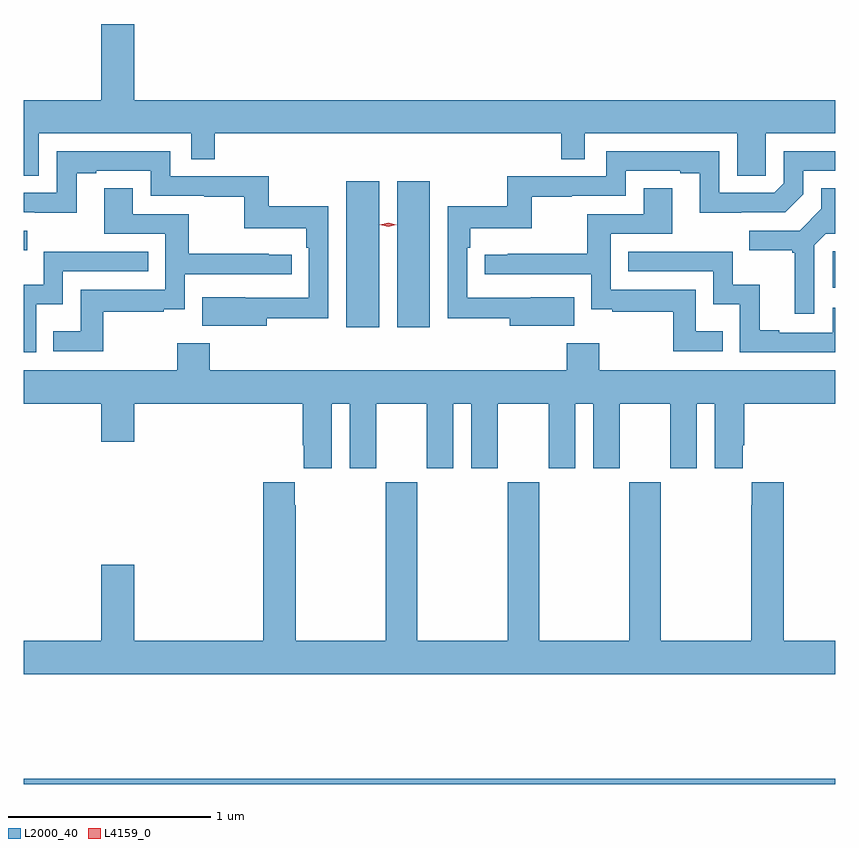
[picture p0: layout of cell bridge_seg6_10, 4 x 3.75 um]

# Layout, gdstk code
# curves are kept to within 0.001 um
import gdstk
lib = gdstk.Library(unit=1e-6, precision=1e-09)
def R(c, l, rs):  # rectangles x0, y0, x1, y1
    for r in rs: c.add(gdstk.rectangle(r[:2], r[2:], *l))
def P(c, l, *ps):  # polygons
    for p in ps: c.add(gdstk.Polygon(p, *l))
L2000_40 = (2000, 40)
L4159_0 = (4159, 0)

bridge_seg6_10 = lib.new_cell('bridge_seg6_10')
R(bridge_seg6_10, L2000_40, [(979.81,937.47,983.81,937.496), (981.401,939.72,981.562,940.441), (981.65,939.72,981.811,940.441), (983.796,939.915,983.81,940.095), (979.81,940.1,979.828,940.197)])
P(bridge_seg6_10, L2000_40, [(979.885,940.676),(980.637,940.676),(980.637,940.549),(980.753,940.549),(980.753,940.676),(982.459,940.676),(982.459,940.549),(982.575,940.549),(982.575,940.676),(983.327,940.676),(983.327,940.468),(983.466,940.468),(983.466,940.676),(983.81,940.676),(983.81,940.84),(980.356,940.84),(980.356,941.215),(980.192,941.215),(980.192,940.84),(979.81,940.84),(979.81,940.468),(979.885,940.468)],
  [(982.523,939.868),(981.996,939.867),(981.996,940.112),(982.01,940.112),(982.01,940.208),(982.315,940.208),(982.315,940.363),(982.511,940.363),(982.511,940.368),(982.776,940.368),(982.776,940.491),(983.045,940.491),(983.045,940.479),(983.141,940.479),(983.141,940.286),(983.562,940.287),(983.652,940.377),(983.652,940.491),(983.81,940.491),(983.81,940.587),(983.556,940.587),(983.556,940.431),(983.508,940.383),(983.238,940.383),(983.238,940.587),(982.68,940.587),(982.68,940.464),(982.194,940.464),(982.194,940.318),(981.9,940.318),(981.9,939.766),(982.205,939.766),(982.205,939.728),(982.523,939.728)],
  [(981.007,939.766),(981.312,939.766),(981.312,940.318),(981.019,940.318),(981.019,940.464),(980.532,940.464),(980.532,940.587),(979.974,940.587),(979.974,940.383),(979.81,940.383),(979.81,940.287),(979.866,940.287),(979.866,940.286),(980.071,940.286),(980.071,940.479),(980.167,940.479),(980.167,940.491),(980.436,940.491),(980.436,940.368),(980.701,940.368),(980.701,940.363),(980.898,940.363),(980.898,940.208),(981.203,940.208),(981.203,940.112),(981.216,940.112),(981.216,939.867),(980.903,939.867),(980.903,939.868),(980.689,939.868),(980.689,939.728),(981.007,939.728)],
  [(983.255,939.7),(983.121,939.7),(983.121,939.906),(982.704,939.906),(982.704,940.182),(983.005,940.182),(983.005,940.406),(982.865,940.406),(982.865,940.278),(982.588,940.278),(982.588,940.082),(982.195,940.082),(982.195,940.077),(982.083,940.077),(982.083,939.981),(982.608,939.981),(982.608,939.809),(982.711,939.809),(982.711,939.798),(983.01,939.798),(983.01,939.603),(983.255,939.603)],
  [(980.203,939.798),(980.501,939.798),(980.501,939.809),(980.604,939.809),(980.604,939.981),(981.13,939.981),(981.13,940.077),(981.017,940.077),(981.017,940.082),(980.624,940.082),(980.624,940.278),(980.347,940.278),(980.347,940.406),(980.207,940.406),(980.207,940.182),(980.508,940.182),(980.508,939.906),(980.092,939.906),(980.092,939.7),(979.957,939.7),(979.957,939.603),(980.203,939.603)],
  [(983.706,940.125),(983.763,940.182),(983.81,940.182),(983.81,940.406),(983.741,940.406),(983.741,940.304),(983.634,940.197),(983.385,940.197),(983.385,940.1),(983.598,940.1),(983.598,940.089),(983.609,940.089),(983.609,939.786),(983.706,939.786)],
  [(979.872,939.833),(980.004,939.833),(980.004,939.996),(980.423,939.996),(980.423,940.092),(979.908,940.092),(979.908,939.931),(979.81,939.931),(979.81,939.597),(979.872,939.597)],
  [(983.81,939.816),(983.796,939.816),(983.796,939.693),(983.533,939.693),(983.533,939.706),(983.437,939.706),(983.437,939.931),(983.304,939.931),(983.304,940.092),(982.789,940.092),(982.789,939.996),(983.208,939.996),(983.208,939.833),(983.34,939.833),(983.34,939.597),(983.81,939.597)],
  [(981.328,939.344),(981.416,939.344),(981.416,939.027),(981.547,939.027),(981.547,939.344),(981.797,939.344),(981.797,939.027),(981.928,939.027),(981.928,939.344),(982.016,939.344),(982.016,939.027),(982.147,939.027),(982.147,939.344),(982.397,939.344),(982.397,939.027),(982.528,939.027),(982.528,939.344),(982.616,939.344),(982.616,939.027),(982.747,939.027),(982.747,939.344),(982.997,939.344),(982.997,939.027),(983.128,939.027),(983.128,939.344),(983.216,939.344),(983.216,939.027),(983.353,939.027),(983.353,939.139),(983.36,939.139),(983.36,939.344),(983.81,939.344),(983.81,939.508),(982.647,939.508),(982.647,939.643),(982.487,939.643),(982.487,939.508),(980.726,939.508),(980.726,939.643),(980.566,939.643),(980.566,939.508),(979.81,939.508),(979.81,939.344),(980.192,939.344),(980.192,939.156),(980.356,939.156),(980.356,939.344),(981.185,939.344),(981.185,939.139),(981.191,939.139),(981.191,939.027),(981.328,939.027)],
  [(981.595,938.956),(981.595,938.176),(981.15,938.176),(981.15,938.843),(981.145,938.843),(981.145,938.956),(980.99,938.956),(980.99,938.176),(980.356,938.176),(980.356,938.551),(980.192,938.551),(980.192,938.176),(979.81,938.176),(979.81,938.012),(983.81,938.012),(983.81,938.176),(983.555,938.176),(983.555,938.956),(983.399,938.956),(983.399,938.843),(983.395,938.843),(983.395,938.176),(982.95,938.176),(982.95,938.956),(982.795,938.956),(982.795,938.176),(982.35,938.176),(982.35,938.956),(982.195,938.956),(982.195,938.176),(981.75,938.176),(981.75,938.956)])
P(bridge_seg6_10, L4159_0, [(981.606,940.215),(981.566,940.225),(981.566,940.225),(981.566,940.226),(981.606,940.235),(981.646,940.226),(981.646,940.225),(981.646,940.225)])

lib.write_gds('bridge_seg6_10.gds')
